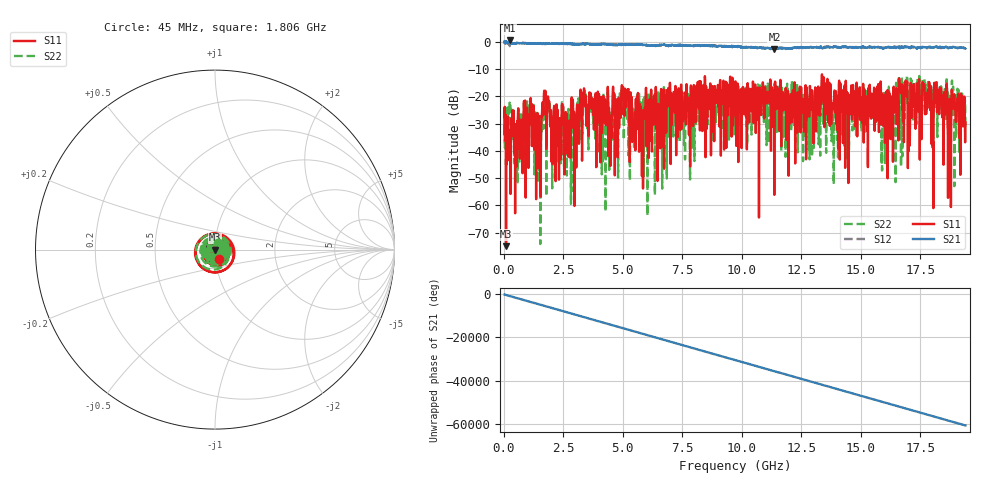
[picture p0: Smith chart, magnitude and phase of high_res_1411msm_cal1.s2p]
!Agilent Technologies,E8364A,US41440322,A.04.87.01
!Agilent E8364A: A.04.87.01
!Date: Tuesday, July 09, 2024 14:49:15
!Correction: S11(Full 2 Port SOLT,1,2) S21(Full 2 Port SOLT,1,2) S12(Full 2 Port SOLT,1,2) S22(Full 2 Port SOLT,1,2)
!S2P File: Measurements: S11, S21, S12, S22:
# Hz S  dB  R 50
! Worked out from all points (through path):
!   16001 points, 45 MHz to 19.4 GHz, reference 50 ohm
!   highest |S21| = 0.51 dB at 257.9 MHz (marker M1); lowest = -2.7 dB at 11.38 GHz (marker M2)
!   lowest |S11| = -75.0 dB at 106.7 MHz (marker M3), VSWR 1.00, Z = 50 + j0.00754 ohm
!   |S11| at or under -10 dB: start of sweep to end of sweep
!   |S22| runs from -74.2 to -12.3 dB; largest |S21 - S12| = 0.29
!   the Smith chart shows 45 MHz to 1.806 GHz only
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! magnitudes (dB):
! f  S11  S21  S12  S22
! 45 MHz  -24.8  0.2  -0.7  -28.2
! 106.7 MHz  -75.0  0.0  -0.2  -25.8
! 257.9 MHz  -33.6  0.5  -1.4  -22.5
! 520.4 MHz  -35.6  -0.6  -0.6  -33.4
! 1.178 GHz  -22.9  -0.6  -0.6  -24.7
! 1.47 GHz  -27.4  -0.7  -0.7  -34.6
! 1.792 GHz  -21.5  -0.8  -0.7  -25.7
! 2.341 GHz  -33.4  -0.8  -0.7  -35.0
! 3.271 GHz  -18.8  -0.8  -0.8  -26.4
! 3.415 GHz  -23.6  -0.9  -0.7  -19.5
! 4.35 GHz  -26.1  -0.9  -0.9  -31.0
! 4.928 GHz  -26.3  -0.9  -1.0  -23.5
! 5.46 GHz  -32.5  -1.1  -1.1  -26.4
! 5.637 GHz  -19.3  -1.0  -1.0  -19.2
! 6.497 GHz  -22.8  -1.3  -1.3  -19.1
! 8.188 GHz  -21.6  -1.4  -1.2  -20.5
! 9.722 GHz  -18.9  -1.7  -1.8  -24.0
! 11.38 GHz  -24.5  -2.7  -2.6  -15.8
! 12.95 GHz  -19.7  -2.0  -2.0  -26.5
! 16.17 GHz  -34.6  -1.8  -2.1  -18.5
! 17.46 GHz  -13.9  -2.1  -2.0  -12.9
! 19.4 GHz  -29.5  -2.5  -2.3  -30.7
